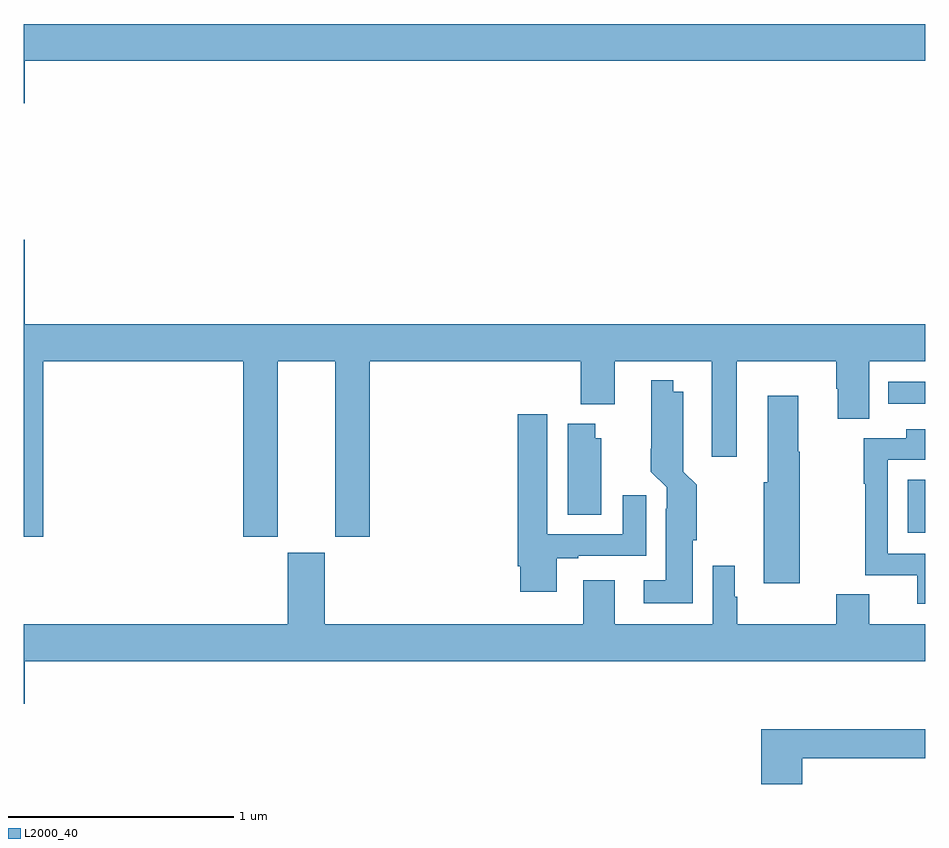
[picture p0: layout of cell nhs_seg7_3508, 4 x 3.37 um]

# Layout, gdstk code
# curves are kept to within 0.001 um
import gdstk
lib = gdstk.Library(unit=1e-6, precision=1e-09)
def R(c, l, rs):  # rectangles x0, y0, x1, y1
    for r in rs: c.add(gdstk.rectangle(r[:2], r[2:], *l))
def P(c, l, *ps):  # polygons
    for p in ps: c.add(gdstk.Polygon(p, *l))
L2000_40 = (2000, 40)

nhs_seg7_3508 = lib.new_cell('nhs_seg7_3508')
R(nhs_seg7_3508, L2000_40, [(336.923,1073.114,337,1073.35), (336.836,1073.688,337,1073.784)])
P(nhs_seg7_3508, L2000_40, [(333.004,1075.208),(337,1075.208),(337,1075.372),(333,1075.372),(333,1075.02),(333.004,1075.02)],
  [(333.086,1073.876),(333.974,1073.876),(333.974,1073.097),(334.126,1073.097),(334.126,1073.876),(334.382,1073.876),(334.382,1073.097),(334.535,1073.097),(334.535,1073.876),(335.471,1073.876),(335.471,1073.684),(335.623,1073.684),(335.623,1073.876),(336.053,1073.876),(336.053,1073.451),(336.163,1073.451),(336.163,1073.876),(336.604,1073.876),(336.604,1073.754),(336.611,1073.754),(336.611,1073.62),(336.751,1073.62),(336.751,1073.876),(337,1073.876),(337,1074.04),(333.004,1074.04),(333.004,1074.415),(333,1074.415),(333,1073.097),(333.086,1073.097)],
  [(335.968,1073.082),(335.986,1073.082),(335.986,1073.327),(335.927,1073.386),(335.926,1073.74),(335.881,1073.74),(335.881,1073.791),(335.784,1073.791),(335.783,1073.386),(335.853,1073.316),(335.853,1073.222),(335.849,1073.222),(335.849,1072.903),(335.751,1072.903),(335.751,1072.802),(335.968,1072.802)],
  [(336.442,1073.238),(336.444,1073.238),(336.444,1073.474),(336.436,1073.474),(336.436,1073.722),(336.302,1073.722),(336.302,1073.338),(336.284,1073.338),(336.284,1072.89),(336.442,1072.89)],
  [(335.365,1073.001),(335.461,1073.001),(335.461,1073.013),(335.761,1073.013),(335.761,1073.281),(335.657,1073.281),(335.657,1073.109),(335.323,1073.109),(335.323,1073.641),(335.192,1073.641),(335.192,1072.966),(335.204,1072.966),(335.204,1072.854),(335.365,1072.854)],
  [(335.563,1073.535),(335.536,1073.535),(335.536,1073.599),(335.414,1073.599),(335.414,1073.194),(335.563,1073.194)],
  [(337,1073.022),(336.834,1073.022),(336.834,1073.439),(337,1073.439),(337,1073.575),(336.916,1073.575),(336.916,1073.535),(336.726,1073.535),(336.726,1073.332),(336.733,1073.332),(336.733,1072.926),(336.965,1072.926),(336.965,1072.8),(337,1072.8)],
  [(337,1072.708),(336.751,1072.708),(336.751,1072.841),(336.604,1072.841),(336.604,1072.708),(336.166,1072.708),(336.166,1072.83),(336.154,1072.83),(336.154,1072.969),(336.057,1072.969),(336.057,1072.708),(335.623,1072.708),(335.623,1072.903),(335.483,1072.903),(335.483,1072.708),(334.336,1072.708),(334.336,1073.025),(334.172,1073.025),(334.172,1072.708),(333,1072.708),(333,1072.356),(333.004,1072.356),(333.004,1072.544),(337,1072.544)],
  [(336.455,1072.114),(337,1072.114),(337,1072.243),(336.272,1072.243),(336.272,1072),(336.455,1072)])

lib.write_gds('nhs_seg7_3508.gds')
